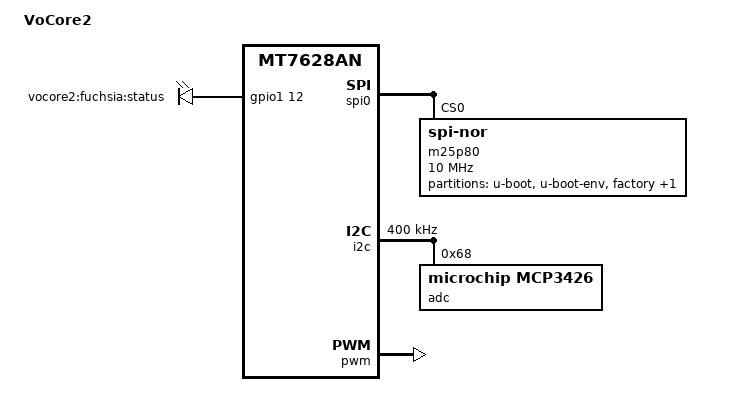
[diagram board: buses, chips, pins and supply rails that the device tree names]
/dts-v1/;

#include "VOCORE2.dtsi"

#include <dt-bindings/gpio/gpio.h>

/ {
	compatible = "vocore,vocore2", "mediatek,mt7628an-soc";
	model = "VoCore2";

	gpio-leds {
		compatible = "gpio-leds";

		status {
			label = "vocore2:fuchsia:status";
			gpios = <&gpio1 12 GPIO_ACTIVE_HIGH>;
		};
	};
};

&spi0 {
	status = "okay";

	m25p80@0 {
		#address-cells = <1>;
		#size-cells = <1>;
		compatible = "jedec,spi-nor";
		reg = <0>;
		spi-max-frequency = <10000000>;
		m25p,chunked-io = <32>;

		partition@0 {
			label = "u-boot";
			reg = <0x0 0x30000>;
			read-only;
		};

		partition@30000 {
			label = "u-boot-env";
			reg = <0x30000 0x10000>;
			read-only;
		};

		factory: partition@40000 {
			label = "factory";
			reg = <0x40000 0x10000>;
			read-only;
		};

		partition@50000 {
			label = "firmware";
			reg = <0x50000 0xfb0000>;
		};
	};
};

//INTERCEPTOR CONFIG
&pinctrl {

        pwm_pins: pwm{
               pwm0{
           	    ralink,group = "pwm0";
                    ralink,function = "pwm0";
               };
               pwm1{
                    ralink,group = "pwm1";
                    ralink,function = "pwm1";
               };
               uart2_pwm{
                    ralink,group = "uart2";
	            ralink,function = "pwm";
               };
	};

};
&i2c{
	status = "okay";
	clock-frequency = <400000>;	 

	adc@0 {
		compatible = "microchip,mcp3426";
		reg = <0x68>;
	};
};


&uart2 {
        status = "disabled";
	//status= "okay";
};


&pwm {
	pinctrl-0 = <&pwm_pins>;
        status="okay";
	//status="disabled";
	
};

